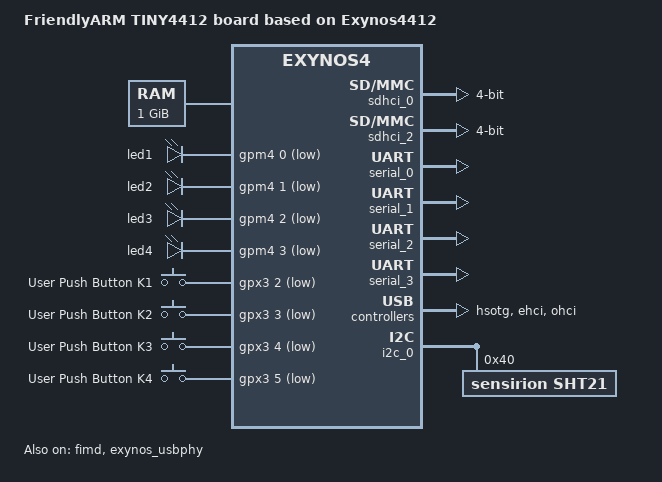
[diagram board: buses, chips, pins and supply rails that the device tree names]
// SPDX-License-Identifier: GPL-2.0
/*
 * FriendlyARM's Exynos4412 based TINY4412 board device tree source
 *
 * Copyright (c) 2013 Alex Ling <kasimling@gmail.com>
 *
 * Device tree source file for FriendlyARM's TINY4412 board which is based on
 * Samsung's Exynos4412 SoC.
 */

/dts-v1/;
#include "exynos4412.dtsi"
#include <dt-bindings/gpio/gpio.h>
#include <dt-bindings/input/input.h>

/ {
	model = "FriendlyARM TINY4412 board based on Exynos4412";
	compatible = "friendlyarm,tiny4412", "samsung,exynos4412", "samsung,exynos4";

	chosen {
		stdout-path = &serial_0;
		bootargs = "noinitrd root=/dev/mmcblk0p2 rw noinitrd rootfstype=ext4 console=ttySAC0,115200 init=/linuxrc earlyprintk";
	};

	memory@40000000 {
		device_type = "memory";
		reg = <0x40000000 0x40000000>;
	};

	leds {
		compatible = "gpio-leds";

		led1 {
			label = "led1";
			gpios = <&gpm4 0 GPIO_ACTIVE_LOW>;
			default-state = "off";
			linux,default-trigger = "heartbeat";
		};

		led2 {
			label = "led2";
			gpios = <&gpm4 1 GPIO_ACTIVE_LOW>;
			default-state = "off";
		};

		led3 {
			label = "led3";
			gpios = <&gpm4 2 GPIO_ACTIVE_LOW>;
			default-state = "off";
		};

		led4 {
			label = "led4";
			gpios = <&gpm4 3 GPIO_ACTIVE_LOW>;
			default-state = "off";
			linux,default-trigger = "mmc0";
		};
	};

	fixed-rate-clocks {
		xxti {
			compatible = "samsung,clock-xxti";
			clock-frequency = <0>;
		};

		xusbxti {
			compatible = "samsung,clock-xusbxti";
			clock-frequency = <24000000>;
		};
	};

	backlight_demo@139D0000	{
		compatible = "tiny4412,backlight_demo";
		reg = <0x139D0000  0x14>;
		tiny4412,backlight = <&gpx1 2 GPIO_ACTIVE_HIGH>;
		pinctrl-names = "backlight_out","backlight_in";
		pinctrl-0 = <&backlight_out>;
		pinctrl-1 = <&backlight_in>;
//		interrupts = <0 40 0>;
		interrupts = <GIC_SPI 40 IRQ_TYPE_LEVEL_HIGH>;
		clocks = <&clock CLK_PWM>;
		clock-names = "timers";
	};

//	display-timings {
//		native-mode = <&timing0>;
//		timing0: timing {
//			clock-frequency = <63000000>;
//			hactive = <800>;
//			vactive = <480>;
//			hfront-porch = <80>;
//			hback-porch = <36>;
//			hsync-len = <10>;
//			vback-porch = <15>;
//			vfront-porch = <22>;
//			vsync-len = <8>;
//		};
//	};


	gpio-keys {
		compatible = "gpio-keys-polled";
		poll-interval = <100>;

		user_k1 {
			label = "User Push Button K1";
			linux,code = <BTN_0>;
			gpios = <&gpx3 2 GPIO_ACTIVE_LOW>;
		};

		user_k2 {
			label = "User Push Button K2";
			linux,code = <BTN_1>;
			gpios = <&gpx3 3 GPIO_ACTIVE_LOW>;
		};

		user_k3 {
			label = "User Push Button K3";
			linux,code = <BTN_2>;
			gpios = <&gpx3 4 GPIO_ACTIVE_LOW>;
		};

		user_k4 {
			label = "User Push Button K4";
			linux,code = <BTN_2>;
			gpios = <&gpx3 5 GPIO_ACTIVE_LOW>;
		};
	};
};

&fimd {
	pinctrl-0 = <&lcd_clk &lcd_data24>;
	pinctrl-names = "default";
	status = "okay";

	samsung,invert-vden;
	samsung,invert-vclk;

	display-timings {
		native-mode = <&timing0>;
		timing0: timing {
			clock-frequency = <4000000>;
			hactive = <800>;
			vactive = <480>;
			hfront-porch = <80>;
			hback-porch = <36>;
			hsync-len = <10>;
			vback-porch = <15>;
			vfront-porch = <22>;
			vsync-len = <18>;
			vsync-active = <0>;
			hsync-active = <0>;
			pixelclk-active = <0>;
		};
	};
};

&rtc {
	status = "disabled";
};

/* for eMMC */
&sdhci_0 {
	bus-width = <4>;
	pinctrl-0 = <&sd0_clk &sd0_cmd &sd0_cd &sd0_bus4>;
	pinctrl-names = "default";
	status = "okay";
};

&sdhci_2 {
	bus-width = <4>;
	pinctrl-0 = <&sd2_clk &sd2_cmd &sd2_cd &sd2_bus4>;
	pinctrl-names = "default";
	status = "okay";
};

&serial_0 {
	status = "okay";
};

&serial_1 {
	status = "okay";
};

&serial_2 {
	status = "okay";
};

&serial_3 {
	status = "okay";
};

&exynos_usbphy {
	samsung,usb4604-rst = <&gpm2 4 1>;
	status = "okay";
};

&hsotg {
	status = "okay";
};

&ehci {
	status = "okay";
	#address-cells = <1>;
	#size-cells = <0>;
	port@0 {
		reg = <0>;
		phys = <&exynos_usbphy 1>;
		status = "okay";
	};
	port@1 {
		reg = <1>;
		phys = <&exynos_usbphy 2>;
		status = "okay";
	};
	port@2 {
		reg = <2>;
		phys = <&exynos_usbphy 3>;
		status = "okay";
	};
};

&ohci {
	status = "okay";
	#address-cells = <1>;
	#size-cells = <0>;
	port@0 {
		reg = <0>;
		phys = <&exynos_usbphy 1>;
		status = "okay";
	};
};

&i2c_0 {
        status = "okay";

        sht21@40 {
			#address-cells = <1>;
			#size-cells = <0>;
			compatible = "sensirion,sht21";
			reg = <0x40>;
        };
};

&pinctrl_1 {
	backlight_out:
	backlight_out {
		samsung,pins = "gpx1-2";
		samsung,pin-function = <1>;
		samsung,pin-pud = <0>;
		samsung,pin-drv = <0>;
	};

	backlight_in: 
	backlight_in {
		samsung,pins = "gpx1-2";
		samsung,pin-function = <0>;
		samsung,pin-pud = <0>;
		samsung,pin-drv = <0>;
	};
};

//&pwm {
//	/* PWM 0 -- Buzzer */
//	pinctrl-0 = <&pwm0_out &pwm1_out &pwm2_out &pwm3_out>;
//	pinctrl-names = "default";
//	samsung,pwm-outputs = <0>, <1>, <2>, <3>;
//	status = "okay";
//};
